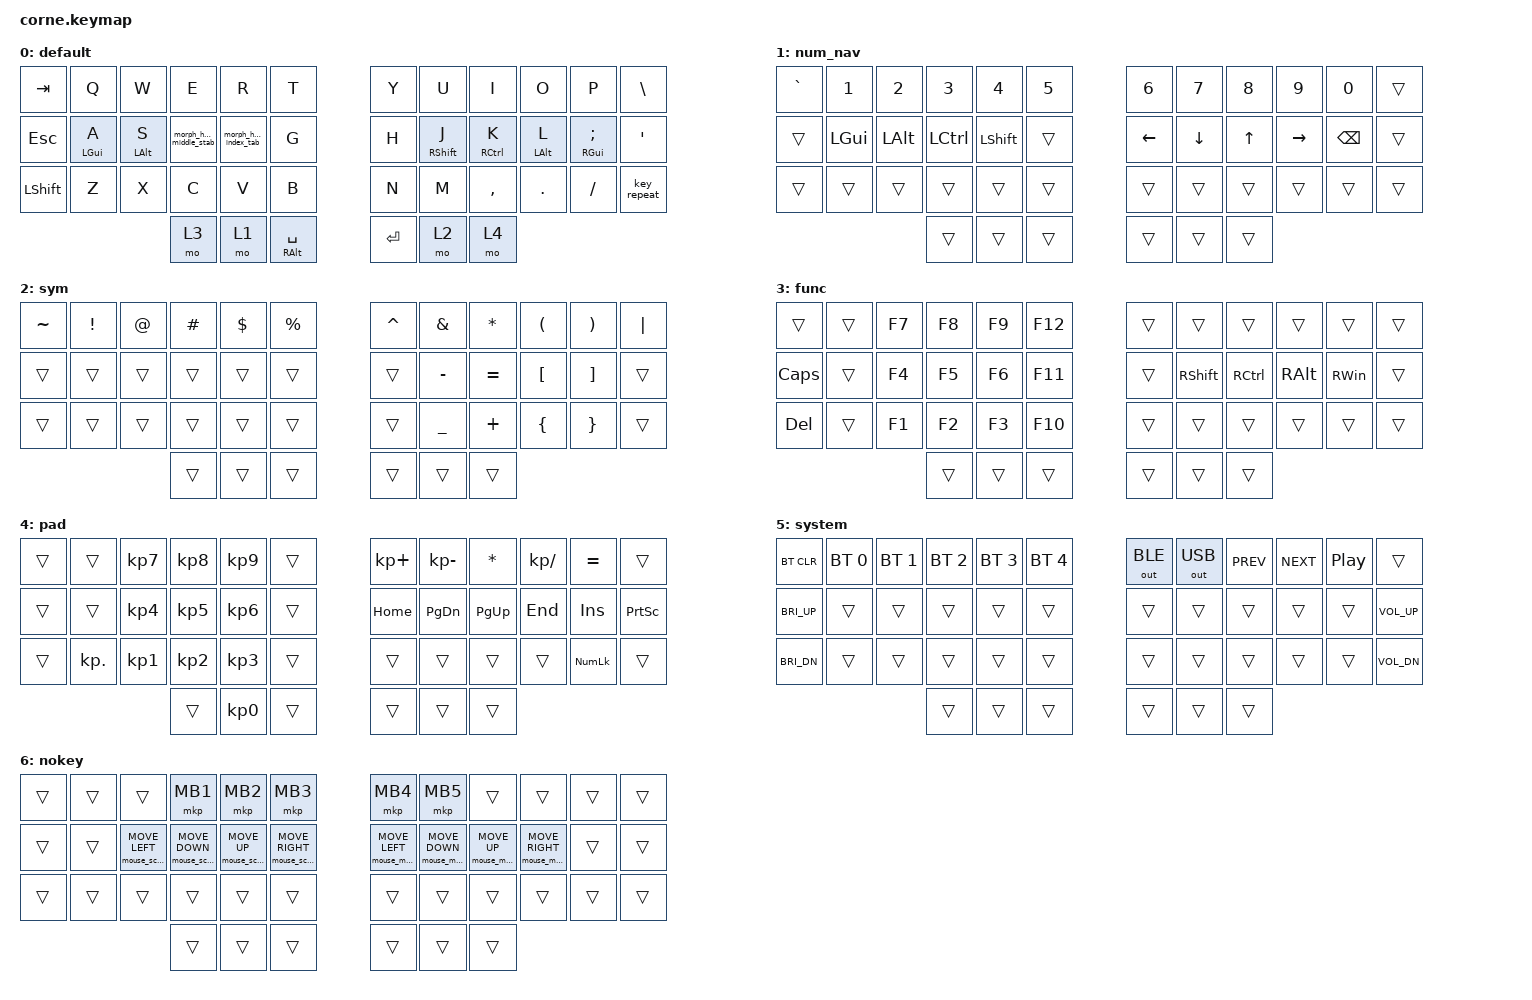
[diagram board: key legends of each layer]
/*
 * Copyright (c) 2020 The ZMK Contributors
 *
 * SPDX-License-Identifier: MIT
 */

#define ZMK_POINTING_DEFAULT_MOVE_VAL 4000  // default: 600
#define ZMK_POINTING_DEFAULT_SCRL_VAL 16    // default: 10

#include <behaviors.dtsi>
#include <dt-bindings/zmk/bt.h>
#include <dt-bindings/zmk/keys.h>
#include <dt-bindings/zmk/outputs.h>
#include <dt-bindings/zmk/pointing.h>

/ {
    behaviors {
        hrm: home_row_mod {
            compatible = "zmk,behavior-hold-tap";
            label = "HOME_ROW_MOD";
            bindings = <&kp>, <&kp>;

            #binding-cells = <2>;
            hold-trigger-key-positions = <13 14 15 16 19 20 21 22>;
            flavor = "balanced";
            tapping-term-ms = <280>;
            quick-tap-ms = <180>;
            require-prior-idle-ms = <150>;
            hold-trigger-on-release;
        };

        mouse_move: mouse_move {
            compatible = "zmk,behavior-input-two-axis";
            label = "MOUSE_MOVE";
            #binding-cells = <1>;
            time-to-max-speed-ms = <1000>;
            acceleration-exponent = <1>;
            x-input-code = <0>;
            y-input-code = <1>;
        };

        mouse_scroll: mouse_scroll {
            compatible = "zmk,behavior-input-two-axis";
            label = "MOUSE_SCROLL";
            #binding-cells = <1>;
            x-input-code = <6>;
            y-input-code = <8>;
            acceleration-exponent = <1>;
            time-to-max-speed-ms = <4000>;
        };

        morph_hmr_left_index_tab: morph_hmr_left_index_tab {
            compatible = "zmk,behavior-mod-morph";
            label = "MORPH_HMR_LEFT_INDEX_TAB";
            bindings = <&hrm LSHIFT F>, <&kp TAB>;

            #binding-cells = <0>;
            keep-mods = <(MOD_RALT)>;
            mods = <(MOD_RALT)>;
        };

        morph_hmr_left_middle_stab: morph_hmr_left_middle_stab {
            compatible = "zmk,behavior-mod-morph";
            label = "MORPH_HMR_LEFT_MIDDLE_STAB";
            bindings = <&hrm LCTRL D>, <&kp RS(TAB)>;

            #binding-cells = <0>;
            keep-mods = <(MOD_RALT)>;
            mods = <(MOD_RALT)>;
        };
    };

    combos {
        compatible = "zmk,combos";

        copy {
            bindings = <&kp LC(INS)>;
            key-positions = <3 2 4>;
        };

        paste {
            bindings = <&kp LS(INS)>;
            key-positions = <14 15 16>;
        };

        cut {
            bindings = <&kp LS(DEL)>;
            key-positions = <26 28 27>;
        };
    };

    keymap {
        compatible = "zmk,keymap";

        default {
            // -----------------------------------------------------------------------------------------
            // | ESC  |  Q  |  W  |  E  |  R  |  T  |   |  Y  |  U  |  I  |  O  |  P  | BSPC |
            // | TAB  |  A  |  S  |  D  |  F  |  G  |   |  H  |  J  |  K  |  L  |  ;  |  '   |
            // | SHFT |  Z  |  X  |  C  |  V  |  B  |   |  N  |  M  |  ,  |  .  |  /  | ENT  |
            //                   | CTRL | LWR | SPC |   | GUI | RSE | ALT |

            bindings = <
&kp TAB     &kp Q        &kp W        &kp E                        &kp R                      &kp T             &kp Y    &kp U         &kp I         &kp O        &kp P           &kp BACKSLASH
&kp ESC     &hrm LGUI A  &hrm LALT S  &morph_hmr_left_middle_stab  &morph_hmr_left_index_tab  &kp G             &kp H    &hrm RSHFT J  &hrm RCTRL K  &hrm LALT L  &hrm RGUI SEMI  &kp SQT
&kp LSHIFT  &kp Z        &kp X        &kp C                        &kp V                      &kp B             &kp N    &kp M         &kp COMMA     &kp DOT      &kp FSLH        &key_repeat
                                      &mo 3                        &mo 1                      &mt RALT SPACE    &kp RET  &mo 2         &mo 4
            >;
        };

        num_nav {
            // -----------------------------------------------------------------------------------------
            // |  `  |  1  |  2  |  3  |   4   |  5  |   |  6   |  7   |  8   |  9  |   0   | DEL |
            // |     |     |     |     |       |     |   | LFT  | DWN  |  UP  | RGT | VOLUP |     |
            // |     | BT1 | BT2 | BT3 | BTCLR | UNL |   | HOM  | PDN  | PUP  | END | VOLDN |     |
            //                   |     |       |     |   | PLAY | NEXT | PREV |

            bindings = <
&kp GRAVE  &kp N1    &kp N2    &kp N3     &kp N4      &kp N5    &kp N6    &kp N7    &kp N8  &kp N9     &kp N0         &trans
&trans     &kp LGUI  &kp LALT  &kp LCTRL  &kp LSHIFT  &trans    &kp LEFT  &kp DOWN  &kp UP  &kp RIGHT  &kp BACKSPACE  &trans
&trans     &trans    &trans    &trans     &trans      &trans    &trans    &trans    &trans  &trans     &trans         &trans
                               &trans     &trans      &trans    &trans    &trans    &trans
            >;
        };

        sym {
            // -----------------------------------------------------------------------------------------
            // |  ~  |  !  |  @  |  #  |  $  |  %  |   |  ^  |  &  |  *  |  (  |  )  |     |
            // |     | F7  | F8  | F9  | F10 | F11 |   | F12 |  -  |  =  |  [  |  ]  |  \  |
            // |     | F1  | F2  | F3  | F4  | F5  |   | F6  |  _  |  +  |  {  |  }  |     |
            //                   |     |     |     |   |     |     |     |

            bindings = <
&kp TILDE  &kp EXCL  &kp AT  &kp HASH  &kp DLLR  &kp PRCNT    &kp CARET  &kp AMPS   &kp ASTRK  &kp LPAR  &kp RPAR  &kp PIPE
&trans     &trans    &trans  &trans    &trans    &trans       &trans     &kp MINUS  &kp EQUAL  &kp LBKT  &kp RBKT  &trans
&trans     &trans    &trans  &trans    &trans    &trans       &trans     &kp UNDER  &kp PLUS   &kp LBRC  &kp RBRC  &trans
                             &trans    &trans    &trans       &trans     &trans     &trans
            >;
        };

        func {
            bindings = <
&trans    &trans  &kp F7  &kp F8  &kp F9  &kp F12    &trans  &trans      &trans     &trans    &trans    &trans
&kp CAPS  &trans  &kp F4  &kp F5  &kp F6  &kp F11    &trans  &kp RSHIFT  &kp RCTRL  &kp RALT  &kp RWIN  &trans
&kp DEL   &trans  &kp F1  &kp F2  &kp F3  &kp F10    &trans  &trans      &trans     &trans    &trans    &trans
                          &trans  &trans  &trans     &trans  &trans      &trans
            >;
        };

        pad {
            bindings = <
&trans  &trans      &kp KP_N7  &kp KP_N8  &kp KP_N9        &trans    &kp KP_PLUS  &kp KP_MINUS  &kp STAR   &kp KP_DIVIDE  &kp EQUAL       &trans
&trans  &trans      &kp KP_N4  &kp KP_N5  &kp KP_N6        &trans    &kp HOME     &kp PG_DN     &kp PG_UP  &kp END        &kp INS         &kp PRINTSCREEN
&trans  &kp KP_DOT  &kp KP_N1  &kp KP_N2  &kp KP_N3        &trans    &trans       &trans        &trans     &trans         &kp KP_NUMLOCK  &trans
                               &trans     &kp KP_NUMBER_0  &trans    &trans       &trans        &trans
            >;
        };

        system {
            bindings = <
&bt BT_CLR    &bt BT_SEL 0  &bt BT_SEL 1  &bt BT_SEL 2  &bt BT_SEL 3  &bt BT_SEL 4    &out OUT_BLE  &out OUT_USB  &kp C_PREV  &kp C_NEXT  &kp C_PP  &trans
&kp C_BRI_UP  &trans        &trans        &trans        &trans        &trans          &trans        &trans        &trans      &trans      &trans    &kp C_VOLUME_UP
&kp C_BRI_DN  &trans        &trans        &trans        &trans        &trans          &trans        &trans        &trans      &trans      &trans    &kp C_VOL_DN
                                          &trans        &trans        &trans          &trans        &trans        &trans
            >;
        };

        nokey {
            bindings = <
&trans  &trans  &trans                   &mkp MB1                 &mkp MB2               &mkp MB3                    &mkp MB4               &mkp MB5               &trans               &trans                  &trans  &trans
&trans  &trans  &mouse_scroll MOVE_LEFT  &mouse_scroll MOVE_DOWN  &mouse_scroll MOVE_UP  &mouse_scroll MOVE_RIGHT    &mouse_move MOVE_LEFT  &mouse_move MOVE_DOWN  &mouse_move MOVE_UP  &mouse_move MOVE_RIGHT  &trans  &trans
&trans  &trans  &trans                   &trans                   &trans                 &trans                      &trans                 &trans                 &trans               &trans                  &trans  &trans
                                         &trans                   &trans                 &trans                      &trans                 &trans                 &trans
            >;
        };
    };

    conditional_layers {
        compatible = "zmk,conditional-layers";

        system {
            if-layers = <3 4>;
            then-layer = <5>;
        };

        nokey {
            if-layers = <1 2>;
            then-layer = <6>;
        };
    };
};
